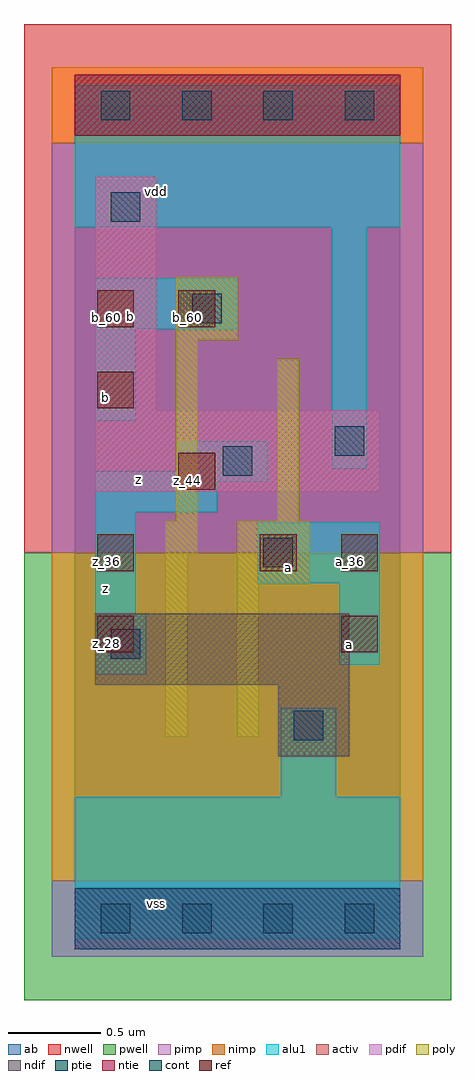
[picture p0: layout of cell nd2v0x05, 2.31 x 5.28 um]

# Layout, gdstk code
import gdstk
lib = gdstk.Library(unit=1e-6, precision=2.5e-09)
def R(c, l, rs):  # rectangles x0, y0, x1, y1
    for r in rs: c.add(gdstk.rectangle(r[:2], r[2:], *l))
def A(c, l, x, y, w, h, nx, ny, dx, dy):  # array of equal rectangles
    R(c, l, [(x+i*dx, y+j*dy, x+i*dx+w, y+j*dy+h) for i in range(nx) for j in range(ny)])
ndif = (3, 0)
pdif = (4, 0)
ntie = (5, 0)
ptie = (6, 0)
ref = (24, 0)
cont = (25, 0)
pwell = (41, 0)
nwell = (42, 0)
activ = (43, 0)
pimp = (44, 0)
nimp = (45, 0)
poly = (46, 0)
alu1 = (49, 0)
ab = (63, 0)

nd2v0x05 = lib.new_cell('nd2v0x05')
R(nd2v0x05, ndif, [(1.1,0.88,1.485,1.265), (0.11,1.265,1.485,1.65)])
R(nd2v0x05, pdif, [(0.11,2.31,1.65,2.75), (0.11,2.75,0.44,4.015)])
R(nd2v0x05, ntie, [(0,4.235,1.76,4.565)])
R(nd2v0x05, ptie, [(0,-0.165,1.76,0.165)])
R(nd2v0x05, ref, [(0.12,1.44,0.32,1.64), (1.44,1.44,1.64,1.64), (0.12,1.88,0.32,2.08), (1,1.88,1.2,2.08), (1.44,1.88,1.64,2.08), (0.56,2.32,0.76,2.52), (0.12,2.76,0.32,2.96), (0.12,3.2,0.32,3.4), (0.56,3.2,0.76,3.4)])
A(nd2v0x05, cont, 0.14, -0.08, 0.16, 0.16, 4, 2, 0.44, 4.4)
R(nd2v0x05, cont, [(1.185,0.965,1.345,1.125), (0.195,1.405,0.355,1.565), (1.02,1.9,1.18,2.06), (0.8,2.395,0.96,2.555), (1.405,2.505,1.565,2.665), (0.635,3.22,0.795,3.38), (0.195,3.77,0.355,3.93)])
R(nd2v0x05, pwell, [(-0.275,-0.44,2.035,1.98)])
R(nd2v0x05, nwell, [(-0.275,1.98,2.035,4.84)])
R(nd2v0x05, activ, [(0,-0.165,1.76,0.165), (1.1,0.88,1.485,1.265), (0.11,1.265,1.485,1.65), (0.11,2.31,1.65,2.75), (0.11,2.75,0.44,4.015), (0,4.235,1.76,4.565)])
R(nd2v0x05, pimp, [(-0.125,-0.205,1.885,0.205), (-0.125,1.98,1.885,4.195)])
R(nd2v0x05, nimp, [(-0.125,0.205,1.885,1.98), (-0.125,4.195,1.885,4.605)])
R(nd2v0x05, poly, [(0.49,0.985,0.61,1.975), (0.875,0.985,0.995,1.81), (0.875,1.81,1.27,2.15), (0.49,1.975,0.665,2.15), (0.545,2.15,0.665,3.13), (1.095,2.15,1.215,3.03), (0.545,3.13,0.885,3.47)])
R(nd2v0x05, alu1, [(0,-0.11,1.76,0.66), (1.115,0.66,1.415,1.14), (0.11,1.32,0.385,1.65), (1.43,1.375,1.65,1.815), (0.11,1.65,0.33,2.2), (0.99,1.815,1.65,2.145), (0.11,2.2,0.77,2.365), (0.11,2.365,1.045,2.42), (0.55,2.42,1.045,2.585), (1.39,2.435,1.58,3.74), (0.11,2.695,0.33,3.19), (0.11,3.19,0.88,3.465), (0,3.74,1.76,4.51)])
R(nd2v0x05, ab, [(0,0,1.76,4.4)])
nd2v0x05.add(gdstk.Label('vss', (0.44,0.0825), layer=49, texttype=0))
nd2v0x05.add(gdstk.Label('a', (1.485,1.485), layer=49, texttype=0))
nd2v0x05.add(gdstk.Label('a', (1.155,1.8975), layer=49, texttype=0))
nd2v0x05.add(gdstk.Label('z', (0.165,1.7875), layer=49, texttype=0))
nd2v0x05.add(gdstk.Label('z', (0.3425,2.3775), layer=49, texttype=0))
nd2v0x05.add(gdstk.Label('b', (0.165,2.8175), layer=49, texttype=0))
nd2v0x05.add(gdstk.Label('b', (0.3025,3.2575), layer=49, texttype=0))
nd2v0x05.add(gdstk.Label('vdd', (0.44,3.9325), layer=49, texttype=0))
nd2v0x05.add(gdstk.Label('a_28', (1.49,1.49), layer=24, texttype=0))
nd2v0x05.add(gdstk.Label('z_36', (0.17,1.93), layer=24, texttype=0))
nd2v0x05.add(gdstk.Label('z_28', (0.17,1.49), layer=24, texttype=0))
nd2v0x05.add(gdstk.Label('a_36', (1.05,1.93), layer=24, texttype=0))
nd2v0x05.add(gdstk.Label('b_60', (0.61,3.25), layer=24, texttype=0))
nd2v0x05.add(gdstk.Label('z_44', (0.61,2.37), layer=24, texttype=0))
nd2v0x05.add(gdstk.Label('b_52', (0.17,2.81), layer=24, texttype=0))
nd2v0x05.add(gdstk.Label('b_60', (0.17,3.25), layer=24, texttype=0))
nd2v0x05.add(gdstk.Label('a_36', (1.49,1.93), layer=24, texttype=0))

lib.write_gds('nd2v0x05.gds')
